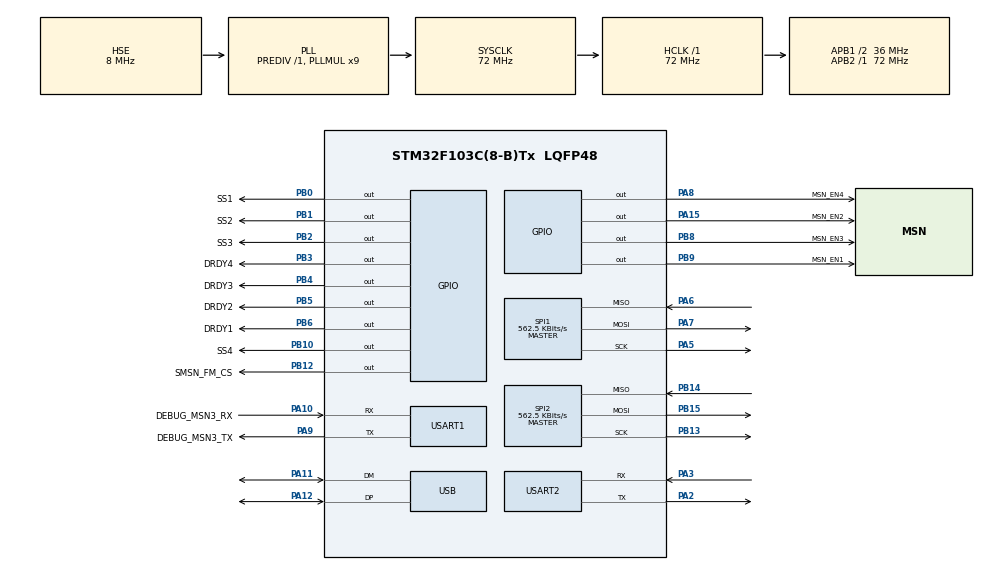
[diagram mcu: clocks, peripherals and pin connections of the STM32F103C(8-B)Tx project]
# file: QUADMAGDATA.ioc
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Dma.Request0=USART2_RX
Dma.Request1=USART2_TX
Dma.Request2=USART1_RX
Dma.Request3=USART1_TX
Dma.USART1_RX.2.Direction=DMA_PERIPH_TO_MEMORY
Dma.USART1_RX.2.Instance=DMA1_Channel5
Dma.USART1_RX.2.MemDataAlignment=DMA_MDATAALIGN_BYTE
Dma.USART1_RX.2.MemInc=DMA_MINC_ENABLE
Dma.USART1_RX.2.Mode=DMA_NORMAL
Dma.USART1_RX.2.PeriphDataAlignment=DMA_PDATAALIGN_BYTE
Dma.USART1_RX.2.PeriphInc=DMA_PINC_DISABLE
Dma.USART1_RX.2.Priority=DMA_PRIORITY_LOW
Dma.USART1_TX.3.Direction=DMA_MEMORY_TO_PERIPH
Dma.USART1_TX.3.Instance=DMA1_Channel4
Dma.USART1_TX.3.MemDataAlignment=DMA_MDATAALIGN_BYTE
Dma.USART1_TX.3.MemInc=DMA_MINC_ENABLE
Dma.USART1_TX.3.Mode=DMA_NORMAL
Dma.USART1_TX.3.PeriphDataAlignment=DMA_PDATAALIGN_BYTE
Dma.USART1_TX.3.PeriphInc=DMA_PINC_DISABLE
Dma.USART1_TX.3.Priority=DMA_PRIORITY_LOW
Dma.USART2_RX.0.Direction=DMA_PERIPH_TO_MEMORY
Dma.USART2_RX.0.Instance=DMA1_Channel6
Dma.USART2_RX.0.MemDataAlignment=DMA_MDATAALIGN_BYTE
Dma.USART2_RX.0.MemInc=DMA_MINC_ENABLE
Dma.USART2_RX.0.Mode=DMA_NORMAL
Dma.USART2_RX.0.PeriphDataAlignment=DMA_PDATAALIGN_BYTE
Dma.USART2_RX.0.PeriphInc=DMA_PINC_DISABLE
Dma.USART2_RX.0.Priority=DMA_PRIORITY_LOW
Dma.USART2_TX.1.Direction=DMA_MEMORY_TO_PERIPH
Dma.USART2_TX.1.Instance=DMA1_Channel7
Dma.USART2_TX.1.MemDataAlignment=DMA_MDATAALIGN_BYTE
Dma.USART2_TX.1.MemInc=DMA_MINC_ENABLE
Dma.USART2_TX.1.Mode=DMA_NORMAL
Dma.USART2_TX.1.PeriphDataAlignment=DMA_PDATAALIGN_BYTE
Dma.USART2_TX.1.PeriphInc=DMA_PINC_DISABLE
Dma.USART2_TX.1.Priority=DMA_PRIORITY_LOW
Mcu.Family=STM32F1
Mcu.Name=STM32F103C(8-B)Tx
Mcu.Package=LQFP48
NVIC.DMA1_Channel4_IRQn=true\:0\:0\:false\:false\:true\:false\:true
NVIC.DMA1_Channel5_IRQn=true\:0\:0\:false\:false\:true\:false\:true
NVIC.DMA1_Channel6_IRQn=true\:0\:0\:false\:false\:true\:false\:true
NVIC.DMA1_Channel7_IRQn=true\:0\:0\:false\:false\:true\:false\:true
NVIC.PriorityGroup=NVIC_PRIORITYGROUP_4
NVIC.SPI2_IRQn=true\:0\:0\:false\:false\:true\:true\:true
NVIC.USART1_IRQn=true\:0\:0\:false\:false\:true\:true\:true
NVIC.USART2_IRQn=true\:0\:0\:false\:false\:true\:true\:true
PA10.GPIO_Label=DEBUG_MSN3_RX
PA10.Mode=Asynchronous
PA10.Signal=USART1_RX
PA11.Mode=Device
PA11.Signal=USB_DM
PA12.Mode=Device
PA12.Signal=USB_DP
PA13.Mode=Serial_Wire
PA13.Signal=SYS_JTMS-SWDIO
PA14.Mode=Serial_Wire
PA14.Signal=SYS_JTCK-SWCLK
PA15.GPIO_Label=MSN_EN2
PA15.Signal=GPIO_Output
PA2.Mode=Asynchronous
PA2.Signal=USART2_TX
PA3.Mode=Asynchronous
PA3.Signal=USART2_RX
PA5.Mode=Full_Duplex_Master
PA5.Signal=SPI1_SCK
PA6.Mode=Full_Duplex_Master
PA6.Signal=SPI1_MISO
PA7.Mode=Full_Duplex_Master
PA7.Signal=SPI1_MOSI
PA8.GPIO_Label=MSN_EN4
PA8.Signal=GPIO_Output
PA9.GPIO_Label=DEBUG_MSN3_TX
PA9.Mode=Asynchronous
PA9.Signal=USART1_TX
PB0.GPIO_Label=SS1
PB0.Signal=GPIO_Output
PB1.GPIO_Label=SS2
PB1.Signal=GPIO_Output
PB10.GPIO_Label=SS4
PB10.Signal=GPIO_Output
PB12.GPIO_Label=SMSN_FM_CS
PB12.Signal=GPIO_Output
PB13.Mode=Full_Duplex_Master
PB13.Signal=SPI2_SCK
PB14.Mode=Full_Duplex_Master
PB14.Signal=SPI2_MISO
PB15.Mode=Full_Duplex_Master
PB15.Signal=SPI2_MOSI
PB2.GPIO_Label=SS3
PB2.Signal=GPIO_Output
PB3.GPIO_Label=DRDY4
PB3.Signal=GPIO_Output
PB4.GPIO_Label=DRDY3
PB4.Signal=GPIO_Output
PB5.GPIO_Label=DRDY2
PB5.Signal=GPIO_Output
PB6.GPIO_Label=DRDY1
PB6.Signal=GPIO_Output
PB8.GPIO_Label=MSN_EN3
PB8.Signal=GPIO_Output
PB9.GPIO_Label=MSN_EN1
PB9.Signal=GPIO_Output
PD0-OSC_IN.Mode=HSE-External-Oscillator
PD0-OSC_IN.Signal=RCC_OSC_IN
PD1-OSC_OUT.Mode=HSE-External-Oscillator
PD1-OSC_OUT.Signal=RCC_OSC_OUT
ProjectManager.HeapSize=0x200
ProjectManager.StackSize=0x400
ProjectManager.TargetToolchain=STM32CubeIDE
RCC.AHBFreq_Value=72000000
RCC.APB1CLKDivider=RCC_HCLK_DIV2
RCC.APB1Freq_Value=36000000
RCC.APB1TimFreq_Value=72000000
RCC.APB2Freq_Value=72000000
RCC.APB2TimFreq_Value=72000000
RCC.EnbaleCSS=true
RCC.HCLKFreq_Value=72000000
RCC.PLLMUL=RCC_PLL_MUL9
RCC.SYSCLKFreq_VALUE=72000000
RCC.SYSCLKSource=RCC_SYSCLKSOURCE_PLLCLK
RCC.USBFreq_Value=48000000
RCC.USBPrescaler=RCC_USBCLKSOURCE_PLL_DIV1_5
SPI1.BaudRatePrescaler=SPI_BAUDRATEPRESCALER_128
SPI1.CalculateBaudRate=562.5 KBits/s
SPI1.Direction=SPI_DIRECTION_2LINES
SPI1.Mode=SPI_MODE_MASTER
SPI1.VirtualType=VM_MASTER
SPI2.BaudRatePrescaler=SPI_BAUDRATEPRESCALER_64
SPI2.CRCCalculation=SPI_CRCCALCULATION_DISABLE
SPI2.CalculateBaudRate=562.5 KBits/s
SPI2.DataSize=SPI_DATASIZE_8BIT
SPI2.Direction=SPI_DIRECTION_2LINES
SPI2.Mode=SPI_MODE_MASTER
SPI2.VirtualType=VM_MASTER
USART1.VirtualMode=VM_ASYNC
USART2.VirtualMode=VM_ASYNC
VP_RTC_VS_RTC_Activate.Mode=RTC_Enabled
board=custom

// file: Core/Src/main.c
/* USER CODE BEGIN Header */
/**
  ******************************************************************************
  * @file           : main.c
  * @brief          : Main program body
  ******************************************************************************
  * @attention
  *
  * <h2><center>&copy; Copyright (c) 2024 STMicroelectronics.
  * All rights reserved.</center></h2>
  *
  * This software component is licensed by ST under BSD 3-Clause license,
  * the "License"; You may not use this file except in compliance with the
  * License. You may obtain a copy of the License at:
  *                        opensource.org/licenses/BSD-3-Clause
  *
  ******************************************************************************
  */
/* USER CODE END Header */
#include "main.h"

/* USER CODE BEGIN Includes */
#include "stm32f1xx_hal_rtc.h"
#include "RM3100QUAD.h"
#include <string.h>
#include "stdarg.h"
#include "lfs_util.h"
#include "lfs.h"
#include "nor.h"

/* USER CODE END Includes */

/* USER CODE BEGIN PTD */
#define UART_DEBUG
#define sector_size 32

/* USER CODE END PTD */

/* USER CODE BEGIN PM */
//void myprintf(const char *fmt, ...);

/* USER CODE END PM */

RTC_HandleTypeDef hrtc;

SPI_HandleTypeDef hspi1;
SPI_HandleTypeDef hspi2;

UART_HandleTypeDef huart1;
UART_HandleTypeDef huart2;
DMA_HandleTypeDef hdma_usart1_rx;
DMA_HandleTypeDef hdma_usart1_tx;
DMA_HandleTypeDef hdma_usart2_rx;
DMA_HandleTypeDef hdma_usart2_tx;

PCD_HandleTypeDef hpcd_USB_FS;

/* USER CODE BEGIN PV */
uint8_t read_X2[4], read_X1[4], read_X0[4];
uint8_t read_Y2[4], read_Y1[4], read_Y0[4];
uint8_t read_Z2[4], read_Z1[4], read_Z0[4];

uint16_t address = 0x00;
uint8_t status_reg=0;
uint8_t READ_FLAG=0;

uint8_t DEBUG_DATA_RX_FLAG = 0;
// variables used by the filesystem
typedef struct{
	uint32_t secCount;
	uint32_t bootCount;
}app_count_t;
uint8_t data[100] = {'NULL'};
	lfs_file_t File;
		char Text[20];
		app_count_t Counter = {0};
		lfs_t Lfs;
		nor_t Nor;
/* USER CODE END PV */

void SystemClock_Config(void);
static void MX_RTC_Init(void);
static void MX_GPIO_Init(void);
static void MX_DMA_Init(void);
static void MX_SPI1_Init(void);
static void MX_SPI2_Init(void);
static void MX_USART1_UART_Init(void);
static void MX_USART2_UART_Init(void);
static void MX_USB_PCD_Init(void);
/* USER CODE BEGIN PFP */
volatile uint8_t DmaEnd = 0;

void HAL_SPI_TxCpltCallback(SPI_HandleTypeDef *hspi){
	DmaEnd = 1;
}

void HAL_SPI_RxCpltCallback(SPI_HandleTypeDef *hspi){
	DmaEnd = 1;
}

void nor_delay_us(uint32_t us){
//	if (us >= __HAL_TIM_GET_AUTORELOAD(&htim2)){
//		us = __HAL_TIM_GET_AUTORELOAD(&htim2) - 1;
//	}
//	__HAL_TIM_SET_COUNTER(&htim2, 0);
//	HAL_TIM_Base_Start(&htim2);
//	while (__HAL_TIM_GET_COUNTER(&htim2) < us);
//	HAL_TIM_Base_Stop(&htim2);
	HAL_Delay(1000);
}

void nor_cs_assert(){
	HAL_GPIO_WritePin(GPIOB, GPIO_PIN_12, GPIO_PIN_RESET);
}

void nor_cs_deassert(){
	HAL_GPIO_WritePin(GPIOB, GPIO_PIN_12, GPIO_PIN_SET);
}

void nor_spi_tx(uint8_t *pData, uint32_t Size){
//	HAL_SPI_Transmit(&hspi3, pData, Size, 100);
	DmaEnd = 0;
	HAL_SPI_Transmit(&hspi1, pData, Size, 1000);
//	while (DmaEnd == 0);
}

void nor_spi_rx(uint8_t *pData, uint32_t Size){
//	HAL_SPI_Receive(&hspi3, pData, Size, 100);
	DmaEnd = 0;
	HAL_SPI_Receive(&hspi1, pData, Size, 1000);
//	DmaEnd =0;
//	while (DmaEnd == 0);
}

void __init_nor(){
	Nor.config.CsAssert = nor_cs_assert;
	Nor.config.CsDeassert = nor_cs_deassert;
	Nor.config.DelayUs = nor_delay_us;
	Nor.config.SpiRxFxn = nor_spi_rx;
	Nor.config.SpiTxFxn = nor_spi_tx;

	if (NOR_Init(&Nor) != NOR_OK){ //NOR_Init
		Error_Handler();
	}
}

/** Start LittleFs **/

int _fs_read(const struct lfs_config *c, lfs_block_t block,
            lfs_off_t off, void *buffer, lfs_size_t size){

	if (NOR_ReadSector(&Nor, (uint8_t*)buffer, block, off, size) == NOR_OK){
		return 0;
	}

	return LFS_ERR_IO;
}

int _fs_write(const struct lfs_config *c, lfs_block_t block,
        lfs_off_t off, const void *buffer, lfs_size_t size){

	if (NOR_WriteSector(&Nor, (uint8_t*)buffer, block, off, size) == NOR_OK){
		return 0;
	}

	return LFS_ERR_IO;
}

int _fs_erase(const struct lfs_config *c, lfs_block_t block){
	if (NOR_EraseSector(&Nor, block) == NOR_OK){
		return 0;
	}

	return LFS_ERR_IO;
}

int _fs_sync(const struct lfs_config *c){
	return 0;
}

void __init_littefs(){
	// because of static qualifier, this variable
	// will have a dedicated address
	static struct lfs_config LfsConfig = {0};
	int Error;

	LfsConfig.read_size = 64;
	LfsConfig.prog_size = 64;
	LfsConfig.block_size = Nor.info.u16SectorSize;
	LfsConfig.block_count = Nor.info.u32SectorCount;
	LfsConfig.cache_size = Nor.info.u16PageSize;
	LfsConfig.lookahead_size = 8;//Nor.info.u32SectorCount/8;
	LfsConfig.block_cycles = 15000;

	LfsConfig.read = _fs_read;
	LfsConfig.prog = _fs_write;
	LfsConfig.erase = _fs_erase;
	LfsConfig.sync = _fs_sync;

	Error = lfs_mount(&Lfs, &LfsConfig);
	if (Error != LFS_ERR_OK){
		lfs_format(&Lfs, &LfsConfig);
		Error = lfs_mount(&Lfs, &LfsConfig);
		if (Error != LFS_ERR_OK){
			Error_Handler();
		}
	}
}

void __init_storage(){
	__init_nor();
	__init_littefs();
}
/* USER CODE END PFP */

int main(void)
{

  /* MCU Configuration--------------------------------------------------------*/

  /* Reset of all peripherals, Initializes the Flash interface and the Systick. */
  HAL_Init();

  /* Configure the system clock */
  SystemClock_Config();

  /* Initialize all configured peripherals */
  MX_RTC_Init();
  MX_GPIO_Init();
  MX_DMA_Init();
  MX_SPI1_Init();
  MX_SPI2_Init();
  MX_USART1_UART_Init();
  MX_USART2_UART_Init();
  MX_USB_PCD_Init();
  /* USER CODE BEGIN 2 */
	for (int i = 0; i < 4; i++) {

		SET_COUNT(i);
		Continuous_Mode(i);
		TMRC_Mode(i);
		//HAL_Delay(100);
		//set_time();
	}
	 HAL_Delay(100);

	  HAL_UART_Transmit(&huart1,"EPDM is starting *********\n", sizeof("EPDM is starting *********\n"),1000);

	  __init_storage();
	//   lfs_file_open(&Lfs, &File, "count.bin", LFS_O_RDWR | LFS_O_CREAT);

	  lfs_file_open(&Lfs, &File, "satHealth.txt", LFS_O_RDWR | LFS_O_CREAT);
	   lfs_file_read(&Lfs, &File, &data, sizeof(data));
	   lfs_file_close(&Lfs, &File);

	   HAL_Delay(1000);

	   lfs_file_open(&Lfs, &File, "testing.txt", LFS_O_RDWR | LFS_O_CREAT);
	   	   lfs_file_read(&Lfs, &File, &data, sizeof(data));
	   	   lfs_file_close(&Lfs, &File);

	   Counter.bootCount += 1;
  /* USER CODE END 2 */

  /* Infinite loop */
  while (1)
  {

    /* USER CODE BEGIN 3 */
		for (int j = 0; j < 4; j++) {
			Mea_Result(j);
			Comb_measurement(j);
			HAL_Delay(100);

		}

  }
  /* USER CODE END 3 */
}

void SystemClock_Config(void)
{
  RCC_OscInitTypeDef RCC_OscInitStruct = {0};
  RCC_ClkInitTypeDef RCC_ClkInitStruct = {0};
  RCC_PeriphCLKInitTypeDef PeriphClkInit = {0};

  /** Initializes the RCC Oscillators according to the specified parameters
  * in the RCC_OscInitTypeDef structure.
  */
  RCC_OscInitStruct.OscillatorType = RCC_OSCILLATORTYPE_LSI|RCC_OSCILLATORTYPE_HSE;
  RCC_OscInitStruct.HSEState = RCC_HSE_ON;
  RCC_OscInitStruct.HSEPredivValue = RCC_HSE_PREDIV_DIV1;
  RCC_OscInitStruct.HSIState = RCC_HSI_ON;
  RCC_OscInitStruct.LSIState = RCC_LSI_ON;
  RCC_OscInitStruct.PLL.PLLState = RCC_PLL_ON;
  RCC_OscInitStruct.PLL.PLLSource = RCC_PLLSOURCE_HSE;
  RCC_OscInitStruct.PLL.PLLMUL = RCC_PLL_MUL9;
  if (HAL_RCC_OscConfig(&RCC_OscInitStruct) != HAL_OK)
  {
    Error_Handler();
  }
  /** Initializes the CPU, AHB and APB buses clocks
  */
  RCC_ClkInitStruct.ClockType = RCC_CLOCKTYPE_HCLK|RCC_CLOCKTYPE_SYSCLK
                              |RCC_CLOCKTYPE_PCLK1|RCC_CLOCKTYPE_PCLK2;
  RCC_ClkInitStruct.SYSCLKSource = RCC_SYSCLKSOURCE_PLLCLK;
  RCC_ClkInitStruct.AHBCLKDivider = RCC_SYSCLK_DIV1;
  RCC_ClkInitStruct.APB1CLKDivider = RCC_HCLK_DIV2;
  RCC_ClkInitStruct.APB2CLKDivider = RCC_HCLK_DIV1;

  if (HAL_RCC_ClockConfig(&RCC_ClkInitStruct, FLASH_LATENCY_2) != HAL_OK)
  {
    Error_Handler();
  }
  PeriphClkInit.PeriphClockSelection = RCC_PERIPHCLK_RTC|RCC_PERIPHCLK_USB;
  PeriphClkInit.RTCClockSelection = RCC_RTCCLKSOURCE_LSI;
  PeriphClkInit.UsbClockSelection = RCC_USBCLKSOURCE_PLL_DIV1_5;
  if (HAL_RCCEx_PeriphCLKConfig(&PeriphClkInit) != HAL_OK)
  {
    Error_Handler();
  }
  /** Enables the Clock Security System
  */
  HAL_RCC_EnableCSS();
}

static void MX_RTC_Init(void)
{

  /** Initialize RTC Only
  */
  hrtc.Instance = RTC;
  hrtc.Init.AsynchPrediv = RTC_AUTO_1_SECOND;
  hrtc.Init.OutPut = RTC_OUTPUTSOURCE_ALARM;
  if (HAL_RTC_Init(&hrtc) != HAL_OK)
  {
    Error_Handler();
  }

}

static void MX_SPI1_Init(void)
{

  /* SPI1 parameter configuration*/
  hspi1.Instance = SPI1;
  hspi1.Init.Mode = SPI_MODE_MASTER;
  hspi1.Init.Direction = SPI_DIRECTION_2LINES;
  hspi1.Init.DataSize = SPI_DATASIZE_8BIT;
  hspi1.Init.CLKPolarity = SPI_POLARITY_LOW;
  hspi1.Init.CLKPhase = SPI_PHASE_1EDGE;
  hspi1.Init.NSS = SPI_NSS_SOFT;
  hspi1.Init.BaudRatePrescaler = SPI_BAUDRATEPRESCALER_128;
  hspi1.Init.FirstBit = SPI_FIRSTBIT_MSB;
  hspi1.Init.TIMode = SPI_TIMODE_DISABLE;
  hspi1.Init.CRCCalculation = SPI_CRCCALCULATION_DISABLE;
  hspi1.Init.CRCPolynomial = 10;
  if (HAL_SPI_Init(&hspi1) != HAL_OK)
  {
    Error_Handler();
  }

}

static void MX_SPI2_Init(void)
{

  /* SPI2 parameter configuration*/
  hspi2.Instance = SPI2;
  hspi2.Init.Mode = SPI_MODE_MASTER;
  hspi2.Init.Direction = SPI_DIRECTION_2LINES;
  hspi2.Init.DataSize = SPI_DATASIZE_8BIT;
  hspi2.Init.CLKPolarity = SPI_POLARITY_LOW;
  hspi2.Init.CLKPhase = SPI_PHASE_1EDGE;
  hspi2.Init.NSS = SPI_NSS_SOFT;
  hspi2.Init.BaudRatePrescaler = SPI_BAUDRATEPRESCALER_64;
  hspi2.Init.FirstBit = SPI_FIRSTBIT_MSB;
  hspi2.Init.TIMode = SPI_TIMODE_DISABLE;
  hspi2.Init.CRCCalculation = SPI_CRCCALCULATION_DISABLE;
  hspi2.Init.CRCPolynomial = 10;
  if (HAL_SPI_Init(&hspi2) != HAL_OK)
  {
    Error_Handler();
  }

}

static void MX_USART1_UART_Init(void)
{

  huart1.Instance = USART1;
  huart1.Init.BaudRate = 115200;
  huart1.Init.WordLength = UART_WORDLENGTH_8B;
  huart1.Init.StopBits = UART_STOPBITS_1;
  huart1.Init.Parity = UART_PARITY_NONE;
  huart1.Init.Mode = UART_MODE_TX_RX;
  huart1.Init.HwFlowCtl = UART_HWCONTROL_NONE;
  huart1.Init.OverSampling = UART_OVERSAMPLING_16;
  if (HAL_UART_Init(&huart1) != HAL_OK)
  {
    Error_Handler();
  }

}

static void MX_USART2_UART_Init(void)
{

  huart2.Instance = USART2;
  huart2.Init.BaudRate = 115200;
  huart2.Init.WordLength = UART_WORDLENGTH_8B;
  huart2.Init.StopBits = UART_STOPBITS_1;
  huart2.Init.Parity = UART_PARITY_NONE;
  huart2.Init.Mode = UART_MODE_TX_RX;
  huart2.Init.HwFlowCtl = UART_HWCONTROL_NONE;
  huart2.Init.OverSampling = UART_OVERSAMPLING_16;
  if (HAL_UART_Init(&huart2) != HAL_OK)
  {
    Error_Handler();
  }

}

static void MX_USB_PCD_Init(void)
{

  hpcd_USB_FS.Instance = USB;
  hpcd_USB_FS.Init.dev_endpoints = 8;
  hpcd_USB_FS.Init.speed = PCD_SPEED_FULL;
  hpcd_USB_FS.Init.low_power_enable = DISABLE;
  hpcd_USB_FS.Init.lpm_enable = DISABLE;
  hpcd_USB_FS.Init.battery_charging_enable = DISABLE;
  if (HAL_PCD_Init(&hpcd_USB_FS) != HAL_OK)
  {
    Error_Handler();
  }

}

static void MX_DMA_Init(void)
{

  /* DMA controller clock enable */
  __HAL_RCC_DMA1_CLK_ENABLE();

  /* DMA interrupt init */
  /* DMA1_Channel4_IRQn interrupt configuration */
  HAL_NVIC_SetPriority(DMA1_Channel4_IRQn, 0, 0);
  HAL_NVIC_EnableIRQ(DMA1_Channel4_IRQn);
  /* DMA1_Channel5_IRQn interrupt configuration */
  HAL_NVIC_SetPriority(DMA1_Channel5_IRQn, 0, 0);
  HAL_NVIC_EnableIRQ(DMA1_Channel5_IRQn);
  /* DMA1_Channel6_IRQn interrupt configuration */
  HAL_NVIC_SetPriority(DMA1_Channel6_IRQn, 0, 0);
  HAL_NVIC_EnableIRQ(DMA1_Channel6_IRQn);
  /* DMA1_Channel7_IRQn interrupt configuration */
  HAL_NVIC_SetPriority(DMA1_Channel7_IRQn, 0, 0);
  HAL_NVIC_EnableIRQ(DMA1_Channel7_IRQn);

}

static void MX_GPIO_Init(void)
{
  GPIO_InitTypeDef GPIO_InitStruct = {0};

  /* GPIO Ports Clock Enable */
  __HAL_RCC_GPIOD_CLK_ENABLE();
  __HAL_RCC_GPIOA_CLK_ENABLE();
  __HAL_RCC_GPIOB_CLK_ENABLE();

  /*Configure GPIO pin Output Level */
  HAL_GPIO_WritePin(GPIOB, SS1_Pin|SS2_Pin|SS3_Pin|SS4_Pin
                          |SMSN_FM_CS_Pin|DRDY4_Pin|DRDY3_Pin|DRDY2_Pin
                          |DRDY1_Pin|MSN_EN3_Pin|MSN_EN1_Pin, GPIO_PIN_RESET);

  /*Configure GPIO pin Output Level */
  HAL_GPIO_WritePin(GPIOA, MSN_EN4_Pin|MSN_EN2_Pin, GPIO_PIN_RESET);

  /*Configure GPIO pins : SS1_Pin SS2_Pin SS3_Pin SS4_Pin
                           SMSN_FM_CS_Pin DRDY4_Pin DRDY3_Pin DRDY2_Pin
                           DRDY1_Pin MSN_EN3_Pin MSN_EN1_Pin */
  GPIO_InitStruct.Pin = SS1_Pin|SS2_Pin|SS3_Pin|SS4_Pin
                          |SMSN_FM_CS_Pin|DRDY4_Pin|DRDY3_Pin|DRDY2_Pin
                          |DRDY1_Pin|MSN_EN3_Pin|MSN_EN1_Pin;
  GPIO_InitStruct.Mode = GPIO_MODE_OUTPUT_PP;
  GPIO_InitStruct.Pull = GPIO_NOPULL;
  GPIO_InitStruct.Speed = GPIO_SPEED_FREQ_LOW;
  HAL_GPIO_Init(GPIOB, &GPIO_InitStruct);

  /*Configure GPIO pins : MSN_EN4_Pin MSN_EN2_Pin */
  GPIO_InitStruct.Pin = MSN_EN4_Pin|MSN_EN2_Pin;
  GPIO_InitStruct.Mode = GPIO_MODE_OUTPUT_PP;
  GPIO_InitStruct.Pull = GPIO_NOPULL;
  GPIO_InitStruct.Speed = GPIO_SPEED_FREQ_LOW;
  HAL_GPIO_Init(GPIOA, &GPIO_InitStruct);

}

void Error_Handler(void)
{
  __disable_irq();
  while (1)
  {
  }
}

/************************ (C) COPYRIGHT STMicroelectronics *****END OF FILE****/
